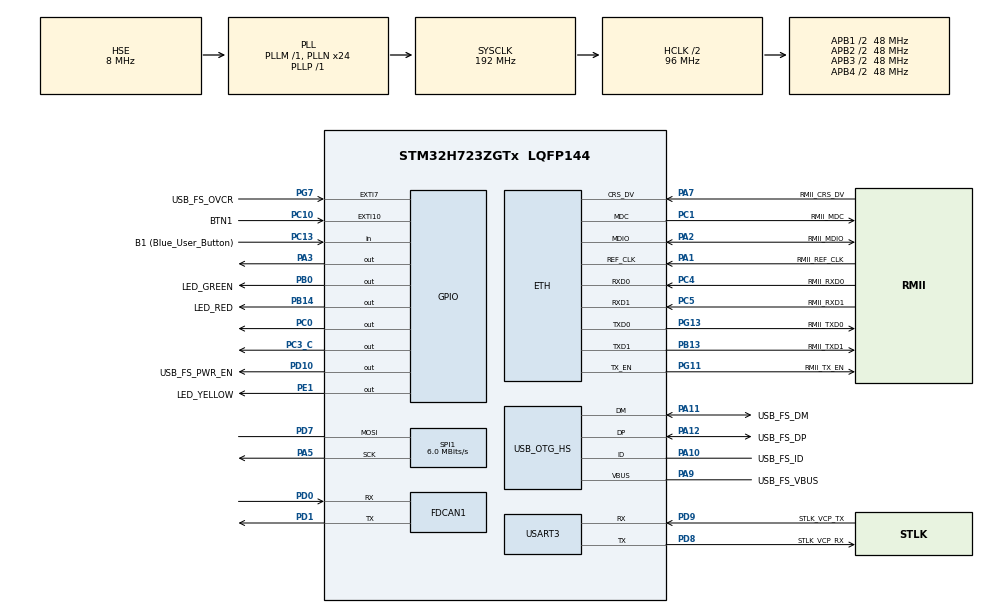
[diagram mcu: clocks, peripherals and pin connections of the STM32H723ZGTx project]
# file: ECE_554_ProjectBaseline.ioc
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CORTEX_M7.AccessPermission-Cortex_Memory_Protection_Unit_Region0_Settings=MPU_REGION_FULL_ACCESS
CORTEX_M7.BaseAddress-Cortex_Memory_Protection_Unit_Region0_Settings=0x30000000
CORTEX_M7.CPU_DCache=Enabled
CORTEX_M7.CPU_ICache=Enabled
CORTEX_M7.DisableExec-Cortex_Memory_Protection_Unit_Region0_Settings=MPU_INSTRUCTION_ACCESS_DISABLE
CORTEX_M7.Enable-Cortex_Memory_Protection_Unit_Region0_Settings=MPU_REGION_ENABLE
CORTEX_M7.IsShareable-Cortex_Memory_Protection_Unit_Region0_Settings=MPU_ACCESS_SHAREABLE
CORTEX_M7.MPU_Control=MPU_PRIVILEGED_DEFAULT
CORTEX_M7.Size-Cortex_Memory_Protection_Unit_Region0_Settings=MPU_REGION_SIZE_32KB
CORTEX_M7.TypeExtField-Cortex_Memory_Protection_Unit_Region0_Settings=MPU_TEX_LEVEL1
ETH.MediaInterface=HAL_ETH_RMII_MODE
ETH.RxBuffAddress=0x30000100
ETH.RxBuffLen=1524
ETH.RxDescAddress=0x30000000
ETH.TxDescAddress=0x30000080
FDCAN1.AutoRetransmission=ENABLE
FDCAN1.NominalPrescaler=2
FDCAN1.NominalSyncJumpWidth=8
FDCAN1.NominalTimeSeg1=31
FDCAN1.NominalTimeSeg2=8
FDCAN1.ProtocolException=ENABLE
FDCAN1.RxFifo0ElmtsNbr=1
FDCAN1.StdFiltersNbr=1
FDCAN1.TxFifoQueueElmtsNbr=1
FREERTOS.Tasks01=defaultTask,0,256,StartDefaultTask,Default,NULL,Dynamic,NULL,NULL;Task02,0,128,Task02_Init,Default,NULL,Dynamic,NULL,NULL
FREERTOS.configUSE_NEWLIB_REENTRANT=1
LWIP.BSP.number=1
LWIP.CMSIS_VERSION-Enabled=1
LWIP.GATEWAY_ADDRESS=192.168.001.001
LWIP.IP_ADDRESS=192.168.001.200
LWIP.LWIP_DHCP=0
LWIP.LWIP_RAM_HEAP_POINTER=0x30002000
LWIP.MEM_SIZE=10*1024
LWIP.NETMASK_ADDRESS=255.255.255.000
LWIP.Version=v2.1.2_Cube
LWIP0.BSP.STBoard=false
LWIP0.BSP.api=BSP_COMPONENT_DRIVER
LWIP0.BSP.component=LAN8742
LWIP0.BSP.i2caddr=0
LWIP0.BSP.instance=LAN8742
LWIP0.BSP.name=Driver_PHY
LWIP0.BSP.solution=LAN8742
Mcu.Family=STM32H7
Mcu.Name=STM32H723ZGTx
Mcu.Package=LQFP144
NVIC.ETH_IRQn=true\:5\:0\:false\:false\:true\:true\:true\:true
NVIC.EXTI15_10_IRQn=true\:5\:0\:false\:false\:true\:true\:true\:true
NVIC.FDCAN1_IT0_IRQn=true\:5\:0\:false\:false\:true\:true\:true\:true
NVIC.PriorityGroup=NVIC_PRIORITYGROUP_4
NVIC.TIM1_UP_IRQn=true\:15\:0\:false\:false\:true\:false\:false\:true
NVIC.TimeBase=TIM1_UP_IRQn
NVIC.TimeBaseIP=TIM1
PA1.GPIO_Label=RMII_REF_CLK
PA1.Mode=RMII
PA1.Signal=ETH_REF_CLK
PA10.GPIO_Label=USB_FS_ID
PA10.Mode=OTG/Dual-Role-Device-FS
PA10.Signal=USB_OTG_HS_ID
PA11.GPIO_Label=USB_FS_DM
PA11.Mode=OTG/Dual-Role-Device-FS
PA11.Signal=USB_OTG_HS_DM
PA12.GPIO_Label=USB_FS_DP
PA12.Mode=OTG/Dual-Role-Device-FS
PA12.Signal=USB_OTG_HS_DP
PA13(JTMS/SWDIO).GPIO_Label=SWDIO
PA13(JTMS/SWDIO).Mode=Trace_Asynchronous_SW
PA13(JTMS/SWDIO).Signal=DEBUG_JTMS-SWDIO
PA14(JTCK/SWCLK).GPIO_Label=SWCLK
PA14(JTCK/SWCLK).Mode=Trace_Asynchronous_SW
PA14(JTCK/SWCLK).Signal=DEBUG_JTCK-SWCLK
PA2.GPIO_Label=RMII_MDIO
PA2.Mode=RMII
PA2.Signal=ETH_MDIO
PA3.Signal=GPIO_Output
PA5.Mode=Simplex_Bidirectional_Master
PA5.Signal=SPI1_SCK
PA7.GPIO_Label=RMII_CRS_DV
PA7.Mode=RMII
PA7.Signal=ETH_CRS_DV
PA9.GPIO_Label=USB_FS_VBUS
PA9.Mode=Activate_VBUS_FS
PA9.Signal=USB_OTG_HS_VBUS
PB0.GPIO_Label=LED_GREEN
PB0.Signal=GPIO_Output
PB13.GPIO_Label=RMII_TXD1
PB13.Mode=RMII
PB13.Signal=ETH_TXD1
PB14.GPIO_Label=LED_RED
PB14.Signal=GPIO_Output
PB3(JTDO/TRACESWO).GPIO_Label=SWO
PB3(JTDO/TRACESWO).Mode=Trace_Asynchronous_SW
PB3(JTDO/TRACESWO).Signal=DEBUG_JTDO-SWO
PC0.Signal=GPIO_Output
PC1.GPIO_Label=RMII_MDC
PC1.Mode=RMII
PC1.Signal=ETH_MDC
PC10.GPIO_Label=BTN1
PC10.GPIO_ModeDefaultEXTI=GPIO_MODE_IT_FALLING
PC10.Signal=GPXTI10
PC13.GPIO_Label=B1 (Blue_User_Button)
PC13.Signal=GPIO_Input
PC14-OSC32_IN.Mode=LSE-External-Oscillator
PC14-OSC32_IN.Signal=RCC_OSC32_IN
PC15-OSC32_OUT.Mode=LSE-External-Oscillator
PC15-OSC32_OUT.Signal=RCC_OSC32_OUT
PC3_C.Signal=GPIO_Output
PC4.GPIO_Label=RMII_RXD0
PC4.Mode=RMII
PC4.Signal=ETH_RXD0
PC5.GPIO_Label=RMII_RXD1
PC5.Mode=RMII
PC5.Signal=ETH_RXD1
PD0.Mode=FDCAN_Activate
PD0.Signal=FDCAN1_RX
PD1.Mode=FDCAN_Activate
PD1.Signal=FDCAN1_TX
PD10.GPIO_Label=USB_FS_PWR_EN
PD10.Signal=GPIO_Output
PD7.Mode=Simplex_Bidirectional_Master
PD7.Signal=SPI1_MOSI
PD8.GPIO_Label=STLK_VCP_RX
PD8.Mode=Asynchronous
PD8.Signal=USART3_TX
PD9.GPIO_Label=STLK_VCP_TX
PD9.Mode=Asynchronous
PD9.Signal=USART3_RX
PE1.GPIO_Label=LED_YELLOW
PE1.Signal=GPIO_Output
PG11.GPIO_Label=RMII_TX_EN
PG11.Mode=RMII
PG11.Signal=ETH_TX_EN
PG13.GPIO_Label=RMII_TXD0
PG13.Mode=RMII
PG13.Signal=ETH_TXD0
PG7.GPIO_Label=USB_FS_OVCR
PG7.Signal=GPXTI7
PH0-OSC_IN.GPIO_Label=MCO
PH0-OSC_IN.Mode=HSE-External-Clock-Source
PH0-OSC_IN.Signal=RCC_OSC_IN
PH1-OSC_OUT.Signal=RCC_OSC_OUT
ProjectManager.HeapSize=0x200
ProjectManager.StackSize=0x400
ProjectManager.TargetToolchain=STM32CubeIDE
RCC.ADCFreq_Value=100000000
RCC.APB1Freq_Value=48000000
RCC.APB2Freq_Value=48000000
RCC.APB3Freq_Value=48000000
RCC.APB4Freq_Value=48000000
RCC.CortexFreq_Value=192000000
RCC.D1PPRE=RCC_APB3_DIV2
RCC.D2PPRE1=RCC_APB1_DIV2
RCC.D2PPRE2=RCC_APB2_DIV2
RCC.D3PPRE=RCC_APB4_DIV2
RCC.DIVM1=1
RCC.DIVM2=1
RCC.DIVN1=24
RCC.DIVN2=25
RCC.DIVP1=1
RCC.DIVQ2=5
RCC.FDCANCLockSelection=RCC_FDCANCLKSOURCE_PLL2
RCC.HCLKFreq_Value=96000000
RCC.HPRE=RCC_HCLK_DIV2
RCC.HSE_VALUE=8000000
RCC.PLL2FRACN=0
RCC.PLLFRACN=0
RCC.PLLSourceVirtual=RCC_PLLSOURCE_HSE
RCC.SYSCLKFreq_VALUE=192000000
RCC.SYSCLKSource=RCC_SYSCLKSOURCE_PLLCLK
RCC.USBCLockSelection=RCC_USBCLKSOURCE_HSI48
RCC.USBFreq_Value=48000000
SPI1.BaudRatePrescaler=SPI_BAUDRATEPRESCALER_16
SPI1.CalculateBaudRate=6.0 MBits/s
SPI1.DataSize=SPI_DATASIZE_8BIT
SPI1.Direction=SPI_DIRECTION_1LINE
SPI1.Mode=SPI_MODE_MASTER
SPI1.NSSPMode=SPI_NSS_PULSE_DISABLE
SPI1.VirtualType=VM_MASTER
TIM6.Prescaler=8000 - 1
USART3.VirtualMode-Asynchronous=VM_ASYNC
VP_FREERTOS_VS_CMSIS_V1.Mode=CMSIS_V1
VP_LWIP_VS_Enabled.Mode=Enabled
VP_SYS_VS_tim1.Mode=TIM1
VP_TIM6_VS_ClockSourceINT.Mode=Enable_Timer
board=NUCLEO-H723ZG

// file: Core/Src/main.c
/* USER CODE BEGIN Header */
/**
  ******************************************************************************
  * @file           : main.c
  * @brief          : Main program body
  ******************************************************************************
  * @attention
  *
  * <h2><center>&copy; Copyright (c) 2021 STMicroelectronics.
  * All rights reserved.</center></h2>
  *
  * This software component is licensed by ST under BSD 3-Clause license,
  * the "License"; You may not use this file except in compliance with the
  * License. You may obtain a copy of the License at:
  *                        opensource.org/licenses/BSD-3-Clause
  *
  ******************************************************************************
  */
/* USER CODE END Header */
#include "main.h"
#include "cmsis_os.h"
#include "fdcan.h"
#include "lwip.h"
#include "spi.h"
#include "tim.h"
#include "usart.h"
#include "usb_otg.h"
#include "gpio.h"

/* USER CODE BEGIN Includes */
#include "ST7735.h"
#include "GFX_FUNCTIONS.h"
#include "tcpServerRAW.h"
#include "Globals.h"
/* USER CODE END Includes */

void SystemClock_Config(void);
static void MPU_Config(void);
void MX_FREERTOS_Init(void);

int main(void)
{

  /* MPU Configuration--------------------------------------------------------*/
  MPU_Config();

  /* Enable I-Cache---------------------------------------------------------*/
  SCB_EnableICache();

  /* Enable D-Cache---------------------------------------------------------*/
  SCB_EnableDCache();

  /* MCU Configuration--------------------------------------------------------*/

  /* Reset of all peripherals, Initializes the Flash interface and the Systick. */
  HAL_Init();

  /* Configure the system clock */
  SystemClock_Config();

  /* Initialize all configured peripherals */
  MX_GPIO_Init();
  MX_USART3_UART_Init();
  MX_USB_OTG_HS_USB_Init();
  MX_FDCAN1_Init();
  MX_TIM6_Init();
  MX_SPI1_Init();
  /* USER CODE BEGIN 2 */
  FDCAN1_MSG_config();
  ST7735_Init(0);
  fillScreen(BLACK);
  //testAll();

  /* USER CODE END 2 */

  /* Call init function for freertos objects (in freertos.c) */
  MX_FREERTOS_Init();
  /* Start scheduler */
  osKernelStart();

  /* We should never get here as control is now taken by the scheduler */
  /* Infinite loop */
  while (1)
  {

  }
}

void SystemClock_Config(void)
{
  RCC_OscInitTypeDef RCC_OscInitStruct = {0};
  RCC_ClkInitTypeDef RCC_ClkInitStruct = {0};

  /** Supply configuration update enable
  */
  HAL_PWREx_ConfigSupply(PWR_LDO_SUPPLY);
  /** Configure the main internal regulator output voltage
  */
  __HAL_PWR_VOLTAGESCALING_CONFIG(PWR_REGULATOR_VOLTAGE_SCALE2);

  while(!__HAL_PWR_GET_FLAG(PWR_FLAG_VOSRDY)) {}
  /** Macro to configure the PLL clock source
  */
  __HAL_RCC_PLL_PLLSOURCE_CONFIG(RCC_PLLSOURCE_HSE);
  /** Initializes the RCC Oscillators according to the specified parameters
  * in the RCC_OscInitTypeDef structure.
  */
  RCC_OscInitStruct.OscillatorType = RCC_OSCILLATORTYPE_HSI48|RCC_OSCILLATORTYPE_HSE;
  RCC_OscInitStruct.HSEState = RCC_HSE_BYPASS;
  RCC_OscInitStruct.HSI48State = RCC_HSI48_ON;
  RCC_OscInitStruct.PLL.PLLState = RCC_PLL_ON;
  RCC_OscInitStruct.PLL.PLLSource = RCC_PLLSOURCE_HSE;
  RCC_OscInitStruct.PLL.PLLM = 1;
  RCC_OscInitStruct.PLL.PLLN = 24;
  RCC_OscInitStruct.PLL.PLLP = 1;
  RCC_OscInitStruct.PLL.PLLQ = 2;
  RCC_OscInitStruct.PLL.PLLR = 2;
  RCC_OscInitStruct.PLL.PLLRGE = RCC_PLL1VCIRANGE_3;
  RCC_OscInitStruct.PLL.PLLVCOSEL = RCC_PLL1VCOWIDE;
  RCC_OscInitStruct.PLL.PLLFRACN = 0;
  if (HAL_RCC_OscConfig(&RCC_OscInitStruct) != HAL_OK)
  {
    Error_Handler();
  }
  /** Initializes the CPU, AHB and APB buses clocks
  */
  RCC_ClkInitStruct.ClockType = RCC_CLOCKTYPE_HCLK|RCC_CLOCKTYPE_SYSCLK
                              |RCC_CLOCKTYPE_PCLK1|RCC_CLOCKTYPE_PCLK2
                              |RCC_CLOCKTYPE_D3PCLK1|RCC_CLOCKTYPE_D1PCLK1;
  RCC_ClkInitStruct.SYSCLKSource = RCC_SYSCLKSOURCE_PLLCLK;
  RCC_ClkInitStruct.SYSCLKDivider = RCC_SYSCLK_DIV1;
  RCC_ClkInitStruct.AHBCLKDivider = RCC_HCLK_DIV2;
  RCC_ClkInitStruct.APB3CLKDivider = RCC_APB3_DIV2;
  RCC_ClkInitStruct.APB1CLKDivider = RCC_APB1_DIV2;
  RCC_ClkInitStruct.APB2CLKDivider = RCC_APB2_DIV2;
  RCC_ClkInitStruct.APB4CLKDivider = RCC_APB4_DIV2;

  if (HAL_RCC_ClockConfig(&RCC_ClkInitStruct, FLASH_LATENCY_1) != HAL_OK)
  {
    Error_Handler();
  }
}

/* MPU Configuration */

void MPU_Config(void)
{
  MPU_Region_InitTypeDef MPU_InitStruct = {0};

  /* Disables the MPU */
  HAL_MPU_Disable();
  /** Initializes and configures the Region and the memory to be protected
  */
  MPU_InitStruct.Enable = MPU_REGION_ENABLE;
  MPU_InitStruct.Number = MPU_REGION_NUMBER0;
  MPU_InitStruct.BaseAddress = 0x30000000;
  MPU_InitStruct.Size = MPU_REGION_SIZE_32KB;
  MPU_InitStruct.SubRegionDisable = 0x0;
  MPU_InitStruct.TypeExtField = MPU_TEX_LEVEL1;
  MPU_InitStruct.AccessPermission = MPU_REGION_FULL_ACCESS;
  MPU_InitStruct.DisableExec = MPU_INSTRUCTION_ACCESS_DISABLE;
  MPU_InitStruct.IsShareable = MPU_ACCESS_SHAREABLE;
  MPU_InitStruct.IsCacheable = MPU_ACCESS_NOT_CACHEABLE;
  MPU_InitStruct.IsBufferable = MPU_ACCESS_NOT_BUFFERABLE;

  HAL_MPU_ConfigRegion(&MPU_InitStruct);
  /* Enables the MPU */
  HAL_MPU_Enable(MPU_PRIVILEGED_DEFAULT);

}

void HAL_TIM_PeriodElapsedCallback(TIM_HandleTypeDef *htim)
{
  if (htim->Instance == TIM1) {
    HAL_IncTick();
  }
}

void Error_Handler(void)
{
  __disable_irq();
  while (1)
  {
  }
}

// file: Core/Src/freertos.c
/* USER CODE BEGIN Header */
/**
  ******************************************************************************
  * File Name          : freertos.c
  * Description        : Code for freertos applications
  ******************************************************************************
  * @attention
  *
  * Copyright (c) 2022 STMicroelectronics.
  * All rights reserved.
  *
  * This software is licensed under terms that can be found in the LICENSE file
  * in the root directory of this software component.
  * If no LICENSE file comes with this software, it is provided AS-IS.
  *
  ******************************************************************************
  */
/* USER CODE END Header */

#include "FreeRTOS.h"
#include "task.h"
#include "main.h"
#include "cmsis_os.h"

/* USER CODE BEGIN Includes */
#include "fdcan.h"
#include "Globals.h"
#include "string.h"
#include "ST7735.h"
#include "GFX_FUNCTIONS.h"
#include "tcpServerRAW.h"
#include "lwip.h"
#include "tim.h"
/* USER CODE END Includes */

osThreadId defaultTaskHandle;
osThreadId Task02Handle;

void StartDefaultTask(void const * argument);
void Task02_Init(void const * argument);

extern void MX_LWIP_Init(void);
void MX_FREERTOS_Init(void); /* (MISRA C 2004 rule 8.1) */

/* GetIdleTaskMemory prototype (linked to static allocation support) */
void vApplicationGetIdleTaskMemory( StaticTask_t **ppxIdleTaskTCBBuffer, StackType_t **ppxIdleTaskStackBuffer, uint32_t *pulIdleTaskStackSize );

/* USER CODE BEGIN GET_IDLE_TASK_MEMORY */
static StaticTask_t xIdleTaskTCBBuffer;
static StackType_t xIdleStack[configMINIMAL_STACK_SIZE];

void vApplicationGetIdleTaskMemory( StaticTask_t **ppxIdleTaskTCBBuffer, StackType_t **ppxIdleTaskStackBuffer, uint32_t *pulIdleTaskStackSize )
{
  *ppxIdleTaskTCBBuffer = &xIdleTaskTCBBuffer;
  *ppxIdleTaskStackBuffer = &xIdleStack[0];
  *pulIdleTaskStackSize = configMINIMAL_STACK_SIZE;
  /* place for user code */
}
/* USER CODE END GET_IDLE_TASK_MEMORY */

void MX_FREERTOS_Init(void) {

  /* Create the thread(s) */
  /* definition and creation of defaultTask */
  osThreadDef(defaultTask, StartDefaultTask, osPriorityNormal, 0, 256);
  defaultTaskHandle = osThreadCreate(osThread(defaultTask), NULL);

  /* definition and creation of Task02 */
  osThreadDef(Task02, Task02_Init, osPriorityNormal, 0, 128);
  Task02Handle = osThreadCreate(osThread(Task02), NULL);

}

void StartDefaultTask(void const * argument)
{
  /* init code for LWIP */
  MX_LWIP_Init();
  /* USER CODE BEGIN StartDefaultTask */
  SM_STATES state = INIT;

  //Start Timer
  HAL_TIM_Base_Start(&htim6);

  //Get current time
  timer_val = __HAL_TIM_GET_COUNTER(&htim6);

  //Start the TCP Server
  tcp_server_init();

  /* Infinite loop */
  for(;;)
  {
	  if(state == INIT)
	  {
		  print_to_serial("Hello FreeRTOS!");
		  ST7735_SetRotation(2);
		  ST7735_WriteString(0, 0, "Hello Ethernet!", Font_7x10, WHITE,BLACK);
		  ST7735_WriteString(0, 12, "Hello CAN!", Font_7x10, WHITE,BLACK);
		  ST7735_WriteString(0, 24, "Hello SPI!", Font_7x10, WHITE,BLACK);
		  state = IDLE;
	  }
	  else if(state == IDLE)
	  {
		  if(__HAL_TIM_GET_COUNTER(&htim6) - timer_val >= 2500)
		  {
			  HAL_GPIO_TogglePin(GPIOE, GPIO_PIN_1);
			  timer_val = __HAL_TIM_GET_COUNTER(&htim6);

			  HAL_FDCAN_AddMessageToTxFifoQ(&hfdcan1, &TxHeader, myTxData);
			  Toggle_CAN_Data();
		  }
		  state = IDLE;
	  }

	  osDelay(1);
  }
  /* USER CODE END StartDefaultTask */
}

void Task02_Init(void const * argument)
{
  /* USER CODE BEGIN Task02_Init */
  /* Infinite loop */
  for(;;)
  {
	  //print_to_serial("Im task2!");
	  osDelay(1000);
  }
  /* USER CODE END Task02_Init */
}
